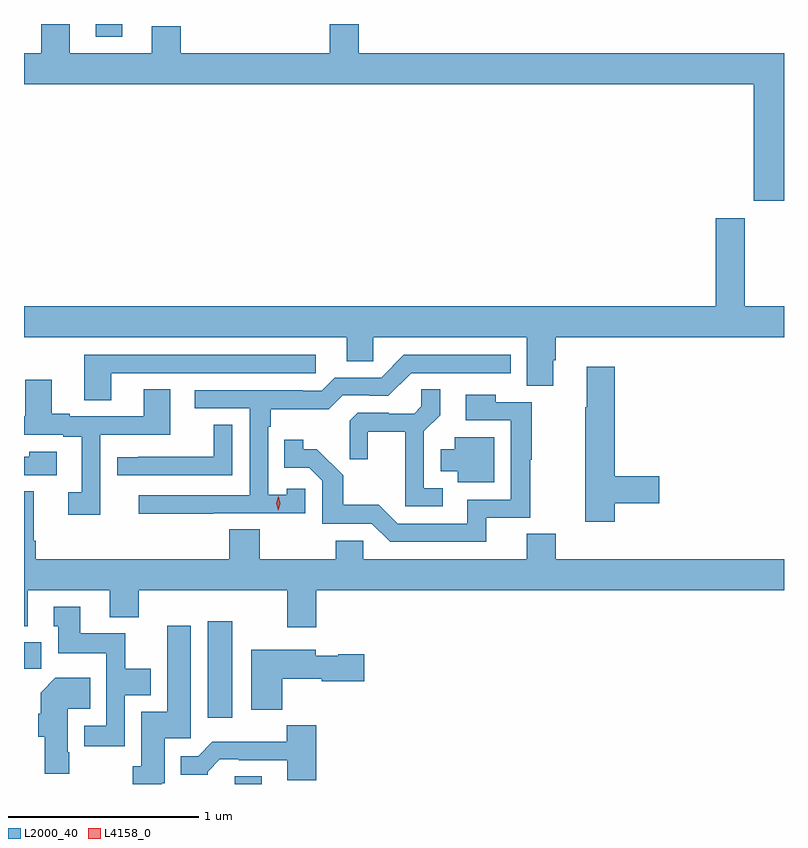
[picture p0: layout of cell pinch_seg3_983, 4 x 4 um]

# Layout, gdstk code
import gdstk
lib = gdstk.Library(unit=1e-6, precision=1e-09)
def R(c, l, rs):  # rectangles x0, y0, x1, y1
    for r in rs: c.add(gdstk.rectangle(r[:2], r[2:], *l))
def P(c, l, *ps):  # polygons
    for p in ps: c.add(gdstk.Polygon(p, *l))
L2000_40 = (2000, 40)
L4158_0 = (4158, 0)

pinch_seg3_983 = lib.new_cell('pinch_seg3_983')
R(pinch_seg3_983, L2000_40, [(435.449,730.533,435.589,730.574), (435.305,730.881,435.436,731.389), (434.339,731.14,434.431,731.278), (434.717,734.466,434.857,734.533)])
P(pinch_seg3_983, L2000_40, [(438.339,734.38),(436.1,734.38),(436.1,734.533),(435.947,734.533),(435.947,734.38),(435.164,734.38),(435.164,734.521),(435.011,734.521),(435.011,734.38),(434.581,734.38),(434.581,734.533),(434.429,734.533),(434.429,734.38),(434.339,734.38),(434.339,734.216),(438.179,734.216),(438.179,733.602),(438.339,733.602)],
  [(437.125,732.762),(437.138,732.762),(437.138,732.884),(438.339,732.884),(438.339,733.048),(438.133,733.048),(438.133,733.51),(437.981,733.51),(437.981,733.048),(434.339,733.048),(434.339,732.884),(436.037,732.884),(436.037,732.757),(436.176,732.757),(436.176,732.884),(436.985,732.884),(436.985,732.628),(437.125,732.628)],
  [(435.335,731.958),(435.819,731.958),(435.819,732.087),(435.723,732.087),(435.723,732.055),(435.624,732.055),(435.624,732.413),(435.637,732.413),(435.637,732.506),(435.944,732.506),(436.017,732.579),(436.156,732.579),(436.156,732.576),(436.257,732.576),(436.377,732.696),(436.9,732.696),(436.9,732.792),(436.338,732.792),(436.218,732.672),(435.975,732.672),(435.906,732.603),(435.806,732.603),(435.806,732.606),(435.237,732.606),(435.237,732.51),(435.528,732.51),(435.528,732.054),(434.943,732.054),(434.943,731.956),(435.335,731.956)],
  [(434.797,732.696),(435.874,732.696),(435.874,732.792),(434.657,732.792),(434.657,732.553),(434.797,732.553)],
  [(437.447,732.01),(437.683,732.01),(437.683,732.152),(437.447,732.152),(437.447,732.73),(437.3,732.73),(437.3,732.517),(437.293,732.517),(437.293,731.912),(437.447,731.912)],
  [(434.739,732.372),(435.109,732.372),(435.109,732.611),(434.969,732.611),(434.969,732.468),(434.581,732.468),(434.581,732.481),(434.485,732.481),(434.485,732.661),(434.345,732.661),(434.345,732.468),(434.339,732.468),(434.339,732.372),(434.546,732.372),(434.546,732.36),(434.642,732.36),(434.642,732.069),(434.571,732.069),(434.571,731.949),(434.739,731.949)],
  [(436.543,732.09),(436.443,732.09),(436.443,732.389),(436.529,732.475),(436.529,732.611),(436.431,732.611),(436.431,732.52),(436.394,732.483),(436.26,732.483),(436.26,732.486),(436.095,732.486),(436.054,732.445),(436.054,732.243),(436.148,732.243),(436.148,732.386),(436.346,732.386),(436.346,731.994),(436.543,731.994)],
  [(436.772,731.934),(437.003,731.934),(437.003,732.239),(437.011,732.239),(437.011,732.543),(436.821,732.543),(436.821,732.583),(436.665,732.583),(436.665,732.447),(436.902,732.447),(436.902,732.03),(436.673,732.03),(436.673,731.904),(436.305,731.904),(436.207,732.003),(436.018,732.003),(436.018,732.158),(435.88,732.296),(435.81,732.296),(435.81,732.346),(435.709,732.346),(435.709,732.198),(435.84,732.198),(435.909,732.129),(435.909,731.904),(436.17,731.904),(436.266,731.808),(436.772,731.808)],
  [(435.435,732.425),(435.337,732.425),(435.337,732.255),(434.941,732.255),(434.941,732.254),(434.829,732.254),(434.829,732.159),(435.435,732.159)],
  [(436.813,732.358),(436.607,732.358),(436.607,732.295),(436.532,732.295),(436.532,732.179),(436.622,732.179),(436.622,732.122),(436.813,732.122)],
  [(434.512,732.283),(434.367,732.283),(434.367,732.255),(434.339,732.255),(434.339,732.159),(434.512,732.159)],
  [(435.878,731.552),(438.339,731.552),(438.339,731.716),(437.138,731.716),(437.138,731.849),(436.985,731.849),(436.985,731.716),(436.125,731.716),(436.125,731.814),(435.979,731.814),(435.979,731.716),(435.579,731.716),(435.579,731.873),(435.419,731.873),(435.419,731.716),(434.402,731.716),(434.402,731.812),(434.389,731.812),(434.389,732.073),(434.339,732.073),(434.339,731.363),(434.359,731.363),(434.359,731.552),(434.789,731.552),(434.789,731.411),(434.942,731.411),(434.942,731.552),(435.725,731.552),(435.725,731.358),(435.878,731.358)],
  [(434.868,731),(435.007,731),(435.007,731.14),(434.871,731.14),(434.871,731.326),(434.635,731.326),(434.635,731.467),(434.495,731.467),(434.495,731.364),(434.519,731.364),(434.519,731.222),(434.772,731.222),(434.772,730.839),(434.655,730.839),(434.655,730.731),(434.868,730.731)],
  [(435.063,730.536),(435.079,730.536),(435.079,730.773),(435.217,730.773),(435.217,731.365),(435.092,731.365),(435.092,730.912),(434.957,730.912),(434.957,730.626),(434.911,730.626),(434.911,730.533),(435.063,730.533)],
  [(435.698,731.087),(435.906,731.087),(435.906,731.075),(436.129,731.075),(436.129,731.217),(435.993,731.217),(435.993,731.209),(435.874,731.209),(435.874,731.239),(435.536,731.239),(435.536,730.925),(435.698,730.925)],
  [(434.577,730.699),(434.569,730.699),(434.569,730.928),(434.687,730.928),(434.687,731.092),(434.504,731.092),(434.426,731.014),(434.426,730.904),(434.414,730.904),(434.414,730.782),(434.447,730.782),(434.447,730.587),(434.577,730.587)],
  [(435.878,730.843),(435.723,730.843),(435.723,730.756),(435.331,730.756),(435.255,730.68),(435.164,730.68),(435.164,730.583),(435.306,730.583),(435.306,730.598),(435.37,730.662),(435.469,730.662),(435.469,730.659),(435.725,730.659),(435.725,730.554),(435.878,730.554)])
P(pinch_seg3_983, L4158_0, [(435.676,731.973),(435.676,731.974),(435.667,732.01),(435.678,732.045),(435.679,732.045),(435.679,732.045),(435.687,732.009),(435.676,731.974)])

lib.write_gds('pinch_seg3_983.gds')
